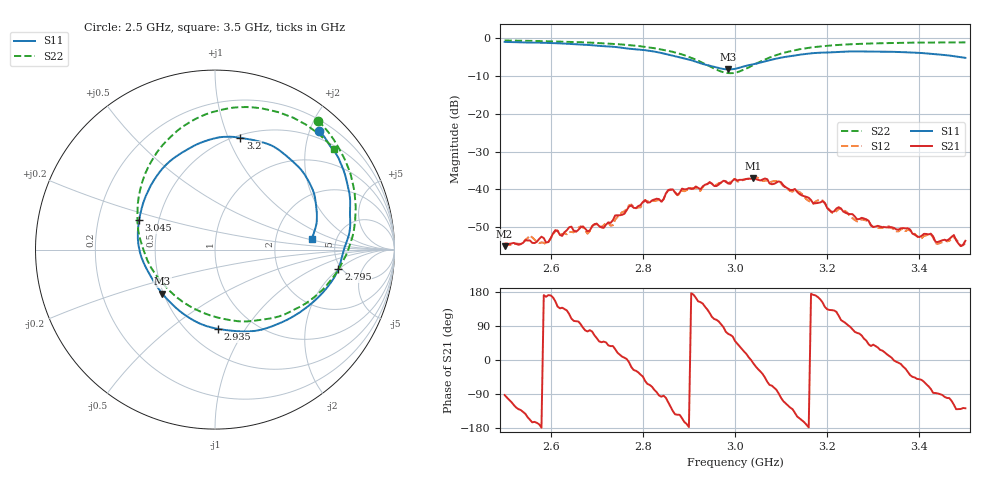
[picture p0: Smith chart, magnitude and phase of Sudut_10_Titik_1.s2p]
# Hz S RI R 50
! CMT, C1220, 16058040, 17.2.0/1
! Date: 15/08/2018 09:44:46
! Data: Format (Calibration Info)
! Freq  S11: Re/Im (F2)  S21: Re/Im (F2)  S12: Re/Im (F2)  S22: Re/Im (F2)
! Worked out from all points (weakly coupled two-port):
!   201 points, 2.5 GHz to 3.5 GHz, reference 50 ohm
!   highest |S21| = -37.04 dB at 3.04 GHz (marker M1); lowest = -54.9 dB at 2.5 GHz (marker M2)
!   lowest |S11| = -8.3 dB at 2.985 GHz (marker M3), VSWR 2.24, Z = 24.6 - j14.1 ohm
!   |S11| at or under -10 dB: nowhere
!   |S22| runs from -9.4 to -0.7 dB; largest |S21 - S12| = 0.0012
!   S11 on the Smith chart (normalised r, x): 2.5 GHz: 0.37, +2.16; 2.795 GHz: 4.71, -1.99; 2.935 GHz: 0.69, -0.76; 3.045 GHz: 0.39, +0.16; 3.2 GHz: 0.53, +1.11; 3.5 GHz: 3.27, +0.54
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2.5e9  0.5814 0.6607  -7.38e-05 -0.00179  -0.000119 -0.00194  0.5741 0.7187
2.555e9  0.6446 0.5729  -0.00197 -0.000804  -0.00224 -0.00106  0.6349 0.6498
2.59e9  0.6891 0.5076  -0.00195 0.000453  -0.00188 0.000269  0.6713 0.5971
2.61e9  0.7056 0.4683  -0.00264 0.00122  -0.00255 0.00119  0.6913 0.5632
2.67e9  0.7486 0.3142  0.000256 0.00325  0.000391 0.00314  0.7463 0.446
2.715e9  0.7527 0.179  0.00206 0.00233  0.0022 0.00254  0.7751 0.3351
2.735e9  0.7518 0.1151  0.00315 0.00236  0.00276 0.00195  0.7807 0.2781
2.77e9  0.7161 -0.00729  0.00593 -0.000623  0.00612 -0.000817  0.781 0.167
2.795e9  0.6877 -0.1088  0.00487 -0.00388  0.00453 -0.00363  0.7673 0.0774
2.835e9  0.5853 -0.2557  -0.000448 -0.00747  -0.000219 -0.00724  0.7047 -0.0791
2.935e9  0.0182 -0.4421  -0.00891 0.00736  -0.00922 0.007  0.2118 -0.3973
2.985e9  -0.2938 -0.2452  0.00428 0.0112  0.00388 0.0115  -0.1794 -0.2912
3e9  -0.36 -0.1455  0.00879 0.0105  0.00942 0.01  -0.2781 -0.2029
3.04e9  -0.4274 0.1303  0.0139 -0.00224  0.0143 -0.00169  -0.4263 0.0993
3.045e9  -0.423 0.1645  0.0131 -0.00404  0.0139 -0.00415  -0.4316 0.1405
3.105e9  -0.2502 0.4932  -0.00365 -0.0107  -0.00379 -0.0104  -0.3254 0.5391
3.17e9  0.0256 0.6259  -0.00646 0.000918  -0.00651 0.000427  -0.0705 0.7457
3.2e9  0.141 0.6225  -0.00396 0.0041  -0.00383 0.00436  0.0425 0.7802
3.335e9  0.488 0.4345  0.0031 0.00057  0.00322 0.000427  0.416 0.7424
3.425e9  0.5635 0.2418  0.000609 -0.00254  0.00052 -0.0025  0.5707 0.6493
3.44e9  0.5676 0.2021  6.19e-05 -0.00203  3.22e-05 -0.00192  0.5924 0.6314
3.5e9  0.5392 0.0586  -0.00128 -0.00167  -0.00133 -0.00146  0.6637 0.5596
